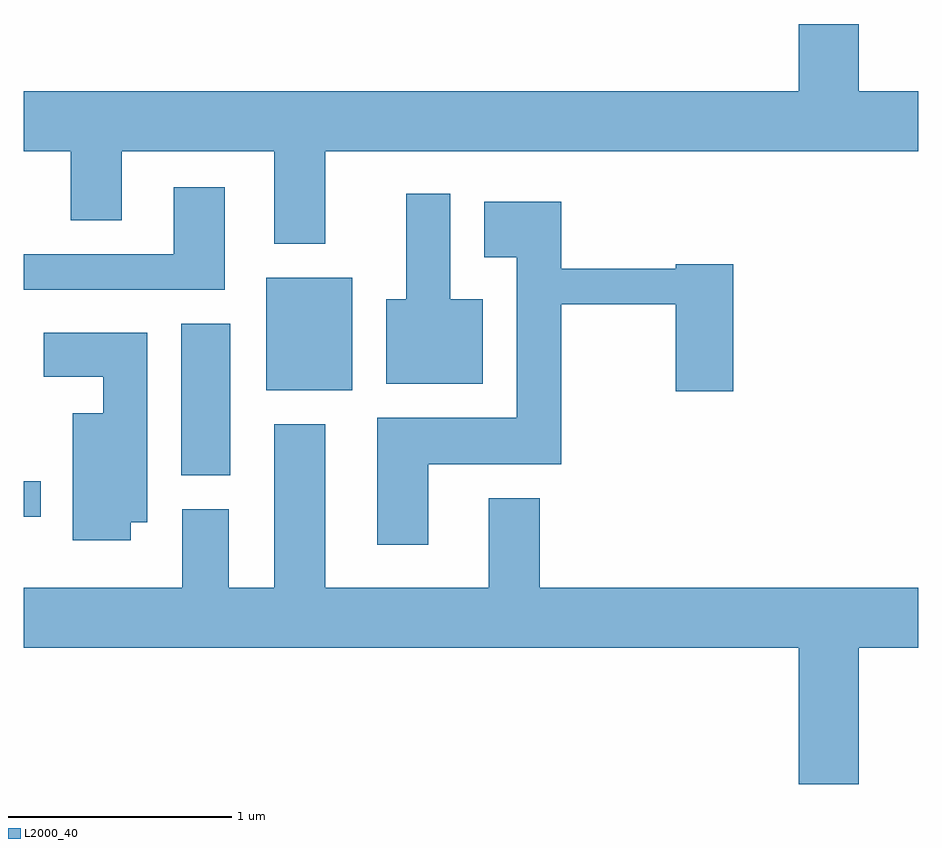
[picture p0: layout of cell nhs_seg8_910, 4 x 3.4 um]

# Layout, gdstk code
import gdstk
lib = gdstk.Library(unit=1e-6, precision=1e-09)
def R(c, l, rs):  # rectangles x0, y0, x1, y1
    for r in rs: c.add(gdstk.rectangle(r[:2], r[2:], *l))
def P(c, l, *ps):  # polygons
    for p in ps: c.add(gdstk.Polygon(p, *l))
L2000_40 = (2000, 40)

nhs_seg8_910 = lib.new_cell('nhs_seg8_910')
R(nhs_seg8_910, L2000_40, [(211.611,1883.621,211.688,1883.779), (212.316,1883.806,212.534,1884.484), (212.696,1884.186,213.079,1884.689)])
P(nhs_seg8_910, L2000_40, [(212.959,1885.256),(215.611,1885.256),(215.611,1885.524),(215.344,1885.524),(215.344,1885.824),(215.076,1885.824),(215.076,1885.524),(211.611,1885.524),(211.611,1885.256),(211.821,1885.256),(211.821,1884.946),(212.049,1884.946),(212.049,1885.256),(212.731,1885.256),(212.731,1884.841),(212.959,1884.841)],
  [(212.509,1885.094),(212.281,1885.094),(212.281,1884.794),(211.611,1884.794),(211.611,1884.636),(212.509,1884.636)],
  [(213.664,1884.594),(213.519,1884.594),(213.519,1885.064),(213.321,1885.064),(213.321,1884.594),(213.231,1884.594),(213.231,1884.216),(213.664,1884.216)],
  [(213.419,1883.856),(214.014,1883.856),(214.014,1884.571),(214.526,1884.571),(214.526,1884.181),(214.784,1884.181),(214.784,1884.749),(214.526,1884.749),(214.526,1884.729),(214.014,1884.729),(214.014,1885.029),(213.671,1885.029),(213.671,1884.781),(213.816,1884.781),(213.816,1884.064),(213.191,1884.064),(213.191,1883.496),(213.419,1883.496)],
  [(212.089,1883.596),(212.164,1883.596),(212.164,1884.444),(211.701,1884.444),(211.701,1884.246),(211.966,1884.246),(211.966,1884.084),(211.831,1884.084),(211.831,1883.516),(212.089,1883.516)],
  [(215.344,1883.036),(215.611,1883.036),(215.611,1883.304),(213.919,1883.304),(213.919,1883.704),(213.691,1883.704),(213.691,1883.304),(212.959,1883.304),(212.959,1884.034),(212.731,1884.034),(212.731,1883.304),(212.529,1883.304),(212.529,1883.654),(212.321,1883.654),(212.321,1883.304),(211.611,1883.304),(211.611,1883.036),(215.076,1883.036),(215.076,1882.426),(215.344,1882.426)])

lib.write_gds('nhs_seg8_910.gds')
